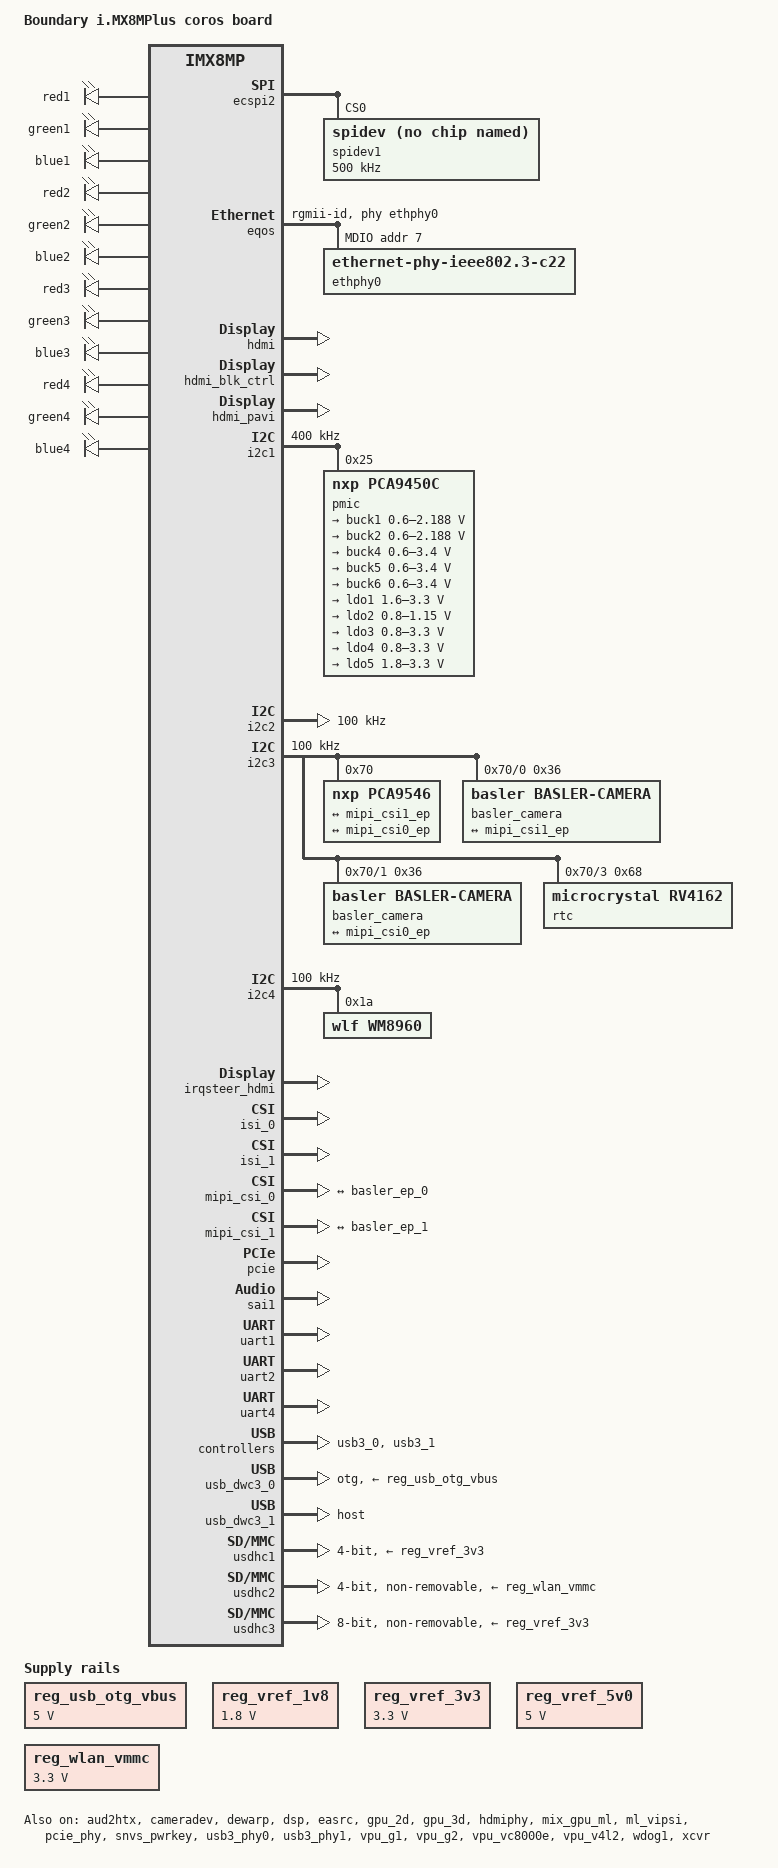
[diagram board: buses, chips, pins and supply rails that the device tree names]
// SPDX-License-Identifier: (GPL-2.0+ OR MIT)
/*
 * Copyright 2022 Boundary Devices
 */

/dts-v1/;

#include <dt-bindings/usb/pd.h>
#include "imx8mp.dtsi"

&iomuxc {
	pinctrl-names = "default";
	pinctrl-0 = <&pinctrl_hog>, <&pinctrl_hog1>;

	pinctrl_bt_rfkill: bt-rfkillgrp {
		fsl,pins = <
#define GP_BT_RFKILL_RESET	<&gpio3 6 GPIO_ACTIVE_LOW>
			MX8MP_IOMUXC_NAND_DATA00__GPIO3_IO06		0x100
		>;
	};

	pinctrl_ecspi2: ecspi2grp {
		fsl,pins = <
			/* J31 */
			MX8MP_IOMUXC_ECSPI2_SCLK__ECSPI2_SCLK		0x82
			MX8MP_IOMUXC_ECSPI2_MOSI__ECSPI2_MOSI		0x82
			MX8MP_IOMUXC_ECSPI2_MISO__ECSPI2_MISO		0x82
#define GP_ECSPI2_CS	<&gpio5 13 GPIO_ACTIVE_LOW>
			MX8MP_IOMUXC_ECSPI2_SS0__GPIO5_IO13		0x143
		>;
	};

	pinctrl_eqos: eqosgrp {
		fsl,pins = <
			MX8MP_IOMUXC_ENET_MDC__ENET_QOS_MDC		0x20
			MX8MP_IOMUXC_ENET_MDIO__ENET_QOS_MDIO		0xa0
			MX8MP_IOMUXC_ENET_TX_CTL__ENET_QOS_RGMII_TX_CTL	0x1f
			MX8MP_IOMUXC_ENET_TXC__CCM_ENET_QOS_CLOCK_GENERATE_TX_CLK	0x1f
			MX8MP_IOMUXC_ENET_TD0__ENET_QOS_RGMII_TD0	0x1f
			MX8MP_IOMUXC_ENET_TD1__ENET_QOS_RGMII_TD1	0x1f
			MX8MP_IOMUXC_ENET_TD2__ENET_QOS_RGMII_TD2	0x1f
			MX8MP_IOMUXC_ENET_TD3__ENET_QOS_RGMII_TD3	0x1f

			MX8MP_IOMUXC_ENET_RX_CTL__ENET_QOS_RGMII_RX_CTL	0x91
			MX8MP_IOMUXC_ENET_RXC__CCM_ENET_QOS_CLOCK_GENERATE_RX_CLK	0x91
			MX8MP_IOMUXC_ENET_RD0__ENET_QOS_RGMII_RD0	0x91
			MX8MP_IOMUXC_ENET_RD1__ENET_QOS_RGMII_RD1	0x91
			MX8MP_IOMUXC_ENET_RD2__ENET_QOS_RGMII_RD2	0x91
			MX8MP_IOMUXC_ENET_RD3__ENET_QOS_RGMII_RD3	0x91
#define GP_EQOS_RESET	<&gpio3 16 GPIO_ACTIVE_LOW>
			MX8MP_IOMUXC_NAND_READY_B__GPIO3_IO16		0x100
#define GPIRQ_EQOS_PHY	<&gpio3 2 IRQ_TYPE_LEVEL_LOW>
			MX8MP_IOMUXC_NAND_CE1_B__GPIO3_IO02		0x1c0
		>;
	};

	pinctrl_hog: hoggrp {
		fsl,pins = <
/* sierra em7411 */
#define GP_USB_M2_PWR_OFF	<&gpio4 27 GPIO_ACTIVE_HIGH>
			MX8MP_IOMUXC_SAI2_MCLK__GPIO4_IO27		0x140
#define GP_USB_M2_WD		<&gpio4 25 GPIO_ACTIVE_LOW>
			MX8MP_IOMUXC_SAI2_TXC__GPIO4_IO25		0x140
#define GP_USB_M2_SIM1_DET	<&gpio4 21 GPIO_ACTIVE_HIGH>
			MX8MP_IOMUXC_SAI2_RXFS__GPIO4_IO21		0x140
#define GP_USB_M2_WL_DISABLE	<&gpio4 22 GPIO_ACTIVE_HIGH>
			MX8MP_IOMUXC_SAI2_RXC__GPIO4_IO22		0x140
#define GP_USB_M2_HST_WAKE	<&gpio4 23 GPIO_ACTIVE_HIGH>
			MX8MP_IOMUXC_SAI2_RXD0__GPIO4_IO23		0x00
#define GP_USB_M2_VID0		<&gpio5 2 GPIO_ACTIVE_HIGH>
			MX8MP_IOMUXC_SAI3_MCLK__GPIO5_IO02		0x00
#define GP_USB_M2_SIM2_DET	<&gpio4 31 GPIO_ACTIVE_HIGH>
			MX8MP_IOMUXC_SAI3_TXFS__GPIO4_IO31		0x140
#define GP_USB_M2_RESET		<&gpio5 0 GPIO_ACTIVE_LOW>
			MX8MP_IOMUXC_SAI3_TXC__GPIO5_IO00		0x140
#define GP_USB_M2_CONFIG_0	<&gpio5 1 GPIO_ACTIVE_HIGH>
			MX8MP_IOMUXC_SAI3_TXD__GPIO5_IO01		0x00
#define GP_USB_M2_ANT_CTRL2	<&gpio4 28 GPIO_ACTIVE_HIGH>
			MX8MP_IOMUXC_SAI3_RXFS__GPIO4_IO28		0x00
#define GP_USB_M2_ANT_CTRL3	<&gpio4 29 GPIO_ACTIVE_HIGH>
			MX8MP_IOMUXC_SAI3_RXC__GPIO4_IO29		0x00
#define GP_USB_M2_ANT_CTRL1	<&gpio4 30 GPIO_ACTIVE_HIGH>
			MX8MP_IOMUXC_SAI3_RXD__GPIO4_IO30		0x00

			MX8MP_IOMUXC_GPIO1_IO04__GPIO1_IO04		0x00	/* J57 Pin 20 */
			MX8MP_IOMUXC_GPIO1_IO05__GPIO1_IO05		0x00	/* J57 Pin 22 */
			MX8MP_IOMUXC_GPIO1_IO06__GPIO1_IO06		0x00	/* J57 Pin 24 */
			MX8MP_IOMUXC_GPIO1_IO07__GPIO1_IO07		0x00	/* J57 Pin 26 */
			MX8MP_IOMUXC_GPIO1_IO08__GPIO1_IO08		0x00	/* J57 Pin 28 */
			MX8MP_IOMUXC_GPIO1_IO09__GPIO1_IO09		0x00	/* J57 Pin 30 */
			MX8MP_IOMUXC_GPIO1_IO10__GPIO1_IO10		0x00	/* J57 Pin 32 */
			MX8MP_IOMUXC_ECSPI1_MOSI__GPIO5_IO07		0x00	/* J57 Pin 37 */
			MX8MP_IOMUXC_ECSPI1_SS0__GPIO5_IO09		0x00	/* J57 Pin 39 */

			MX8MP_IOMUXC_GPIO1_IO15__GPIO1_IO15		0x00	/* TP114 */
			MX8MP_IOMUXC_SD1_DATA4__GPIO2_IO06		0x00	/* TP116 */
			MX8MP_IOMUXC_SD1_DATA6__GPIO2_IO08		0x00	/* TP117 */
			MX8MP_IOMUXC_SPDIF_TX__GPIO5_IO03		0x00	/* TP137 */
			MX8MP_IOMUXC_SPDIF_EXT_CLK__GPIO5_IO05		0x00	/* TP139 */
			MX8MP_IOMUXC_GPIO1_IO11__GPIO1_IO11		0x00	/* TP152 */

			MX8MP_IOMUXC_HDMI_DDC_SCL__HDMIMIX_HDMI_SCL	0x400001c3
			MX8MP_IOMUXC_HDMI_DDC_SDA__HDMIMIX_HDMI_SDA	0x400001c3
			MX8MP_IOMUXC_HDMI_HPD__HDMIMIX_HDMI_HPD		0x40000019
			MX8MP_IOMUXC_HDMI_CEC__HDMIMIX_HDMI_CEC		0x40000019
		>;
	};

	pinctrl_hog1: hog1grp {
		fsl,pins = <
/* Sierra EM7411(J53) and PCIe(J54) */
#define GP_3P5V_EN		<&gpio3 25 GPIO_ACTIVE_HIGH>
			MX8MP_IOMUXC_SAI5_MCLK__GPIO3_IO25		0x140
		>;
	};

	pinctrl_i2c1: i2c1grp {
		fsl,pins = <
			MX8MP_IOMUXC_I2C1_SCL__I2C1_SCL			0x400001c3
			MX8MP_IOMUXC_I2C1_SDA__I2C1_SDA			0x400001c3
		>;
	};

	pinctrl_i2c1_1: i2c1-1grp {
		fsl,pins = <
#define GP_I2C1_SCL	<&gpio5 14 GPIO_OPEN_DRAIN>
			MX8MP_IOMUXC_I2C1_SCL__GPIO5_IO14        	0x1c3
#define GP_I2C1_SDA	<&gpio5 15 GPIO_OPEN_DRAIN>
			MX8MP_IOMUXC_I2C1_SDA__GPIO5_IO15        	0x1c3
		>;
	};

	pinctrl_i2c1_pmic: i2c1-pmicgrp {
		fsl,pins = <
#define GPIRQ_PMIC	<&gpio3 0 IRQ_TYPE_LEVEL_LOW>
			MX8MP_IOMUXC_NAND_ALE__GPIO3_IO00		0x140
		>;
	};

	pinctrl_i2c2: i2c2grp {
		fsl,pins = <
			MX8MP_IOMUXC_I2C2_SCL__I2C2_SCL			0x400001c3
			MX8MP_IOMUXC_I2C2_SDA__I2C2_SDA			0x400001c3
		>;
	};

	pinctrl_i2c2_1: i2c2-1grp {
		fsl,pins = <
#define GP_I2C2_SCL	<&gpio5 16 GPIO_OPEN_DRAIN>
			MX8MP_IOMUXC_I2C2_SCL__GPIO5_IO16        	0x1c3
#define GP_I2C2_SDA	<&gpio5 17 GPIO_OPEN_DRAIN>
			MX8MP_IOMUXC_I2C2_SDA__GPIO5_IO17        	0x1c3
		>;
	};

	pinctrl_i2c3: i2c3grp {
		fsl,pins = <
			MX8MP_IOMUXC_I2C3_SCL__I2C3_SCL			0x400001c3
			MX8MP_IOMUXC_I2C3_SDA__I2C3_SDA			0x400001c3
		>;
	};

	pinctrl_i2c3_1: i2c3-1grp {
		fsl,pins = <
#define GP_I2C3_SCL	<&gpio5 18 GPIO_OPEN_DRAIN>
			MX8MP_IOMUXC_I2C3_SCL__GPIO5_IO18        	0x1c3
#define GP_I2C3_SDA	<&gpio5 19 GPIO_OPEN_DRAIN>
			MX8MP_IOMUXC_I2C3_SDA__GPIO5_IO19        	0x1c3
		>;
	};

	pinctrl_i2c3_pca9546: i2c3-pca9546grp {
		fsl,pins = <
#define GP_PCA9546_RESET	<&gpio3 20 GPIO_ACTIVE_LOW>
			MX8MP_IOMUXC_SAI5_RXC__GPIO3_IO20        	0x100
		>;
	};

	pinctrl_i2c3a_basler: i2c3a-baslergrp {
		fsl,pins = <
#define GP_I2C3A_J10_PIN17 <&gpio4 15 GPIO_OPEN_DRAIN>
			MX8MP_IOMUXC_SAI1_TXD3__GPIO4_IO15		0x1c0
		>;
	};

	pinctrl_i2c3b_basler: i2c3b-baslergrp {
		fsl,pins = <
#define GP_I2C3B_J9_PIN17 <&gpio4 13 GPIO_OPEN_DRAIN>
			MX8MP_IOMUXC_SAI1_TXD1__GPIO4_IO13		0x1c0
		>;
	};

	pinctrl_i2c3d_rv4162: i2c3d-rv4162grp {
		fsl,pins = <
#define GPIRQ_RV4162		<&gpio3 19 GPIO_ACTIVE_HIGH>
			MX8MP_IOMUXC_SAI5_RXFS__GPIO3_IO19		0x1c0
		>;
	};

	pinctrl_i2c4: i2c4grp {
		fsl,pins = <
			MX8MP_IOMUXC_I2C4_SCL__I2C4_SCL			0x400001c3
			MX8MP_IOMUXC_I2C4_SDA__I2C4_SDA			0x400001c3
		>;
	};

	pinctrl_i2c4_1: i2c4-1grp {
		fsl,pins = <
#define GP_I2C4_SCL	<&gpio5 20 GPIO_OPEN_DRAIN>
			MX8MP_IOMUXC_I2C4_SCL__GPIO5_IO20        	0x1c3
#define GP_I2C4_SDA	<&gpio5 21 GPIO_OPEN_DRAIN>
			MX8MP_IOMUXC_I2C4_SDA__GPIO5_IO21        	0x1c3
		>;
	};

	pinctrl_leds: ledsgrp {
		fsl,pins = <
#define GP_LED1_BLUE		<&gpio4 19 GPIO_ACTIVE_LOW>
			MX8MP_IOMUXC_SAI1_TXD7__GPIO4_IO19		0x140
#define GP_LED1_GREEN		<&gpio4 0 GPIO_ACTIVE_LOW>
			MX8MP_IOMUXC_SAI1_RXFS__GPIO4_IO00		0x140
#define GP_LED1_RED		<&gpio4 1 GPIO_ACTIVE_LOW>
			MX8MP_IOMUXC_SAI1_RXC__GPIO4_IO01		0x140

#define GP_LED2_BLUE		<&gpio4 16 GPIO_ACTIVE_LOW>
			MX8MP_IOMUXC_SAI1_TXD4__GPIO4_IO16		0x140
#define GP_LED2_GREEN		<&gpio4 17 GPIO_ACTIVE_LOW>
			MX8MP_IOMUXC_SAI1_TXD5__GPIO4_IO17		0x140
#define GP_LED2_RED		<&gpio4 18 GPIO_ACTIVE_LOW>
			MX8MP_IOMUXC_SAI1_TXD6__GPIO4_IO18		0x140

#define GP_LED3_BLUE		<&gpio4 3 GPIO_ACTIVE_LOW>
			MX8MP_IOMUXC_SAI1_RXD1__GPIO4_IO03		0x140
#define GP_LED3_GREEN		<&gpio4 4 GPIO_ACTIVE_LOW>
			MX8MP_IOMUXC_SAI1_RXD2__GPIO4_IO04		0x140
#define GP_LED3_RED		<&gpio4 5 GPIO_ACTIVE_LOW>
			MX8MP_IOMUXC_SAI1_RXD3__GPIO4_IO05		0x140

#define GP_LED4_BLUE		<&gpio4 7 GPIO_ACTIVE_LOW>
			MX8MP_IOMUXC_SAI1_RXD5__GPIO4_IO07		0x140
#define GP_LED4_GREEN		<&gpio4 8 GPIO_ACTIVE_LOW>
			MX8MP_IOMUXC_SAI1_RXD6__GPIO4_IO08		0x140
#define GP_LED4_RED		<&gpio4 9 GPIO_ACTIVE_LOW>
			MX8MP_IOMUXC_SAI1_RXD7__GPIO4_IO09		0x140
		>;
	};

	pinctrl_pcie: pciegrp {
		fsl,pins = <
#define GP_PCIE_RESET	<&gpio1 14 GPIO_ACTIVE_LOW>
			MX8MP_IOMUXC_GPIO1_IO14__GPIO1_IO14		0x100
#define GP_PCIE_CLK_REQ	<&gpio5 8 GPIO_ACTIVE_HIGH>
			MX8MP_IOMUXC_ECSPI1_MISO__GPIO5_IO08		0x140
		>;
	};

	pinctrl_reg_usbotg_vbus: reg-usbotg-vbusgrp {
		fsl,pins = <
#define GP_REG_USB_OTG_VBUS	<&gpio1 12 GPIO_ACTIVE_HIGH>
			MX8MP_IOMUXC_GPIO1_IO12__GPIO1_IO12		0x100
		>;
	};

	pinctrl_reg_wlan_vmmc: reg-wlan-vmmcgrp {
		fsl,pins = <
#define GP_REG_WLAN_VMMC	<&gpio2 19 GPIO_ACTIVE_HIGH>
			MX8MP_IOMUXC_SD2_RESET_B__GPIO2_IO19		0x100
		>;
	};

	pinctrl_sai1: sai1grp {
		fsl,pins = <
			/* WM8960 */
			MX8MP_IOMUXC_SAI1_TXFS__AUDIOMIX_SAI1_TX_SYNC	0xd6
			MX8MP_IOMUXC_SAI1_TXC__AUDIOMIX_SAI1_TX_BCLK	0xd6
			MX8MP_IOMUXC_SAI1_RXD0__AUDIOMIX_SAI1_RX_DATA00	0xd6
			MX8MP_IOMUXC_SAI1_TXD0__AUDIOMIX_SAI1_TX_DATA00	0xd6
			MX8MP_IOMUXC_SAI1_MCLK__AUDIOMIX_SAI1_MCLK	0xd6
		>;
	};

	pinctrl_sound_wm8960: sound-wm8960grp {
		fsl,pins = <
#define GP_WM8960_AMP_STDBY	<&gpio3 23 GPIO_ACTIVE_LOW>	/* Low is standby */
			MX8MP_IOMUXC_SAI5_RXD2__GPIO3_IO23		0x100
#define GP_WM8960_AMP_MUTE	<&gpio3 24 GPIO_ACTIVE_LOW>	/* Low is muted */
			MX8MP_IOMUXC_SAI5_RXD3__GPIO3_IO24		0x100
#define GP_WM8960_AMP_G0	<&gpio3 22 GPIO_ACTIVE_HIGH>
			MX8MP_IOMUXC_SAI5_RXD1__GPIO3_IO22		0x100
#define GP_WM8960_AMP_G1	<&gpio3 21 GPIO_ACTIVE_HIGH>
			MX8MP_IOMUXC_SAI5_RXD0__GPIO3_IO21		0x100
		>;
	};

	pinctrl_uart1: uart1grp {
		fsl,pins = <
			MX8MP_IOMUXC_UART1_RXD__UART1_DCE_RX		0x140
			MX8MP_IOMUXC_UART1_TXD__UART1_DCE_TX		0x140
			MX8MP_IOMUXC_UART3_RXD__UART1_DCE_CTS		0x140
			MX8MP_IOMUXC_UART3_TXD__UART1_DCE_RTS		0x140
#define GP_BT_UART_WH	<&gpio3 14 GPIO_ACTIVE_HIGH>		/* Wake Host */
			MX8MP_IOMUXC_NAND_DQS__GPIO3_IO14		0x140
		>;
	};

	pinctrl_uart2: uart2grp {
		fsl,pins = <
			MX8MP_IOMUXC_UART2_RXD__UART2_DCE_RX		0x140
			MX8MP_IOMUXC_UART2_TXD__UART2_DCE_TX		0x140
/* FT232RL usb to rs232 for console */
#define GP_USB_UART_SUSPEND	<&gpio4 14 GPIO_ACTIVE_HIGH>
			MX8MP_IOMUXC_SAI1_TXD2__GPIO4_IO14		0x140
#define GP_USB_UART_RESET	<&gpio4 6 GPIO_ACTIVE_HIGH>
			MX8MP_IOMUXC_SAI1_RXD4__GPIO4_IO06		0x140
		>;
	};

	pinctrl_uart4: uart4grp {
		fsl,pins = <
			MX8MP_IOMUXC_UART4_RXD__UART4_DCE_RX		0x140
			MX8MP_IOMUXC_UART4_TXD__UART4_DCE_TX		0x140
		>;
	};

	pinctrl_usb3_0: usb3-0grp {
		fsl,pins = <
			MX8MP_IOMUXC_GPIO1_IO13__USB1_OC	0x140
		>;
	};

	pinctrl_usb3_1: usb3-1grp {
		fsl,pins = <
#define GP_USB3_1_HUB_RESET	<&gpio5 6 GPIO_ACTIVE_LOW>
			MX8MP_IOMUXC_ECSPI1_SCLK__GPIO5_IO06		0x100
		>;
	};

	/* SD card */
	pinctrl_usdhc1: usdhc1grp {
		fsl,pins = <
			MX8MP_IOMUXC_SD1_CLK__USDHC1_CLK	0x190
			MX8MP_IOMUXC_SD1_CMD__USDHC1_CMD	0x1d0
			MX8MP_IOMUXC_SD1_DATA0__USDHC1_DATA0	0x1d0
			MX8MP_IOMUXC_SD1_DATA1__USDHC1_DATA1	0x1d0
			MX8MP_IOMUXC_SD1_DATA2__USDHC1_DATA2	0x1d0
			MX8MP_IOMUXC_SD1_DATA3__USDHC1_DATA3	0x1d0
			MX8MP_IOMUXC_GPIO1_IO03__USDHC1_VSELECT	0x116
		>;
	};

	pinctrl_usdhc1_100mhz: usdhc1grp-100mhz {
		fsl,pins = <
			MX8MP_IOMUXC_SD1_CLK__USDHC1_CLK	0x194
			MX8MP_IOMUXC_SD1_CMD__USDHC1_CMD	0x1d4
			MX8MP_IOMUXC_SD1_DATA0__USDHC1_DATA0	0x1d4
			MX8MP_IOMUXC_SD1_DATA1__USDHC1_DATA1	0x1d4
			MX8MP_IOMUXC_SD1_DATA2__USDHC1_DATA2	0x1d4
			MX8MP_IOMUXC_SD1_DATA3__USDHC1_DATA3	0x1d4
		>;
	};

	pinctrl_usdhc1_200mhz: usdhc1grp-200mhz {
		fsl,pins = <
			MX8MP_IOMUXC_SD1_CLK__USDHC1_CLK	0x196
			MX8MP_IOMUXC_SD1_CMD__USDHC1_CMD	0x1d6
			MX8MP_IOMUXC_SD1_DATA0__USDHC1_DATA0	0x1d6
			MX8MP_IOMUXC_SD1_DATA1__USDHC1_DATA1	0x1d6
			MX8MP_IOMUXC_SD1_DATA2__USDHC1_DATA2	0x1d6
			MX8MP_IOMUXC_SD1_DATA3__USDHC1_DATA3	0x1d6
		>;
	};

	pinctrl_usdhc1_gpio: usdhc1grp-gpio {
		fsl,pins = <
#define GP_USDHC1_CD	<&gpio2 11 GPIO_ACTIVE_LOW>
			MX8MP_IOMUXC_SD1_STROBE__GPIO2_IO11	0x1c4
		>;
	};

	/* Silex wifi QCA9377 */
	pinctrl_usdhc2: usdhc2grp {
		fsl,pins = <
			MX8MP_IOMUXC_SD2_CLK__USDHC2_CLK	0x190
			MX8MP_IOMUXC_SD2_CMD__USDHC2_CMD	0x1d0
			MX8MP_IOMUXC_SD2_DATA0__USDHC2_DATA0	0x1d0
			MX8MP_IOMUXC_SD2_DATA1__USDHC2_DATA1	0x1d0
			MX8MP_IOMUXC_SD2_DATA2__USDHC2_DATA2	0x1d0
			MX8MP_IOMUXC_SD2_DATA3__USDHC2_DATA3	0x1d0
#define GPIRQ_QCA9377	<&gpio2 12 IRQ_TYPE_LEVEL_LOW>
			MX8MP_IOMUXC_SD2_CD_B__GPIO2_IO12	0x1c0
			MX8MP_IOMUXC_GPIO1_IO00__ANAMIX_REF_CLK_32K	0x03
		>;
	};

	pinctrl_usdhc2_100mhz: usdhc2grp100mhz {
		fsl,pins = <
			MX8MP_IOMUXC_SD2_CLK__USDHC2_CLK	0x194
			MX8MP_IOMUXC_SD2_CMD__USDHC2_CMD	0x1d4
			MX8MP_IOMUXC_SD2_DATA0__USDHC2_DATA0	0x1d4
			MX8MP_IOMUXC_SD2_DATA1__USDHC2_DATA1	0x1d4
			MX8MP_IOMUXC_SD2_DATA2__USDHC2_DATA2	0x1d4
			MX8MP_IOMUXC_SD2_DATA3__USDHC2_DATA3	0x1d4
		>;
	};

	pinctrl_usdhc2_200mhz: usdhc2grp200mhz {
		fsl,pins = <
			MX8MP_IOMUXC_SD2_CLK__USDHC2_CLK	0x196
			MX8MP_IOMUXC_SD2_CMD__USDHC2_CMD	0x1d6
			MX8MP_IOMUXC_SD2_DATA0__USDHC2_DATA0	0x1d6
			MX8MP_IOMUXC_SD2_DATA1__USDHC2_DATA1	0x1d6
			MX8MP_IOMUXC_SD2_DATA2__USDHC2_DATA2	0x1d6
			MX8MP_IOMUXC_SD2_DATA3__USDHC2_DATA3	0x1d6
		>;
	};

	/* emmc */
	pinctrl_usdhc3: usdhc3grp {
		fsl,pins = <
			MX8MP_IOMUXC_NAND_WE_B__USDHC3_CLK	0x190
			MX8MP_IOMUXC_NAND_WP_B__USDHC3_CMD	0x1d0
			MX8MP_IOMUXC_NAND_DATA04__USDHC3_DATA0	0x1d0
			MX8MP_IOMUXC_NAND_DATA05__USDHC3_DATA1	0x1d0
			MX8MP_IOMUXC_NAND_DATA06__USDHC3_DATA2	0x1d0
			MX8MP_IOMUXC_NAND_DATA07__USDHC3_DATA3	0x1d0
			MX8MP_IOMUXC_NAND_RE_B__USDHC3_DATA4	0x1d0
			MX8MP_IOMUXC_NAND_CE2_B__USDHC3_DATA5	0x1d0
			MX8MP_IOMUXC_NAND_CE3_B__USDHC3_DATA6	0x1d0
			MX8MP_IOMUXC_NAND_CLE__USDHC3_DATA7	0x1d0
#define GP_EMMC_RESET	<&gpio3 1 GPIO_ACTIVE_LOW>
			MX8MP_IOMUXC_NAND_CE0_B__GPIO3_IO01	0x140
		>;
	};

	pinctrl_usdhc3_100mhz: usdhc3grp-100mhz {
		fsl,pins = <
			MX8MP_IOMUXC_NAND_WE_B__USDHC3_CLK	0x194
			MX8MP_IOMUXC_NAND_WP_B__USDHC3_CMD	0x1d4
			MX8MP_IOMUXC_NAND_DATA04__USDHC3_DATA0	0x1d4
			MX8MP_IOMUXC_NAND_DATA05__USDHC3_DATA1	0x1d4
			MX8MP_IOMUXC_NAND_DATA06__USDHC3_DATA2	0x1d4
			MX8MP_IOMUXC_NAND_DATA07__USDHC3_DATA3	0x1d4
			MX8MP_IOMUXC_NAND_RE_B__USDHC3_DATA4	0x1d4
			MX8MP_IOMUXC_NAND_CE2_B__USDHC3_DATA5	0x1d4
			MX8MP_IOMUXC_NAND_CE3_B__USDHC3_DATA6	0x1d4
			MX8MP_IOMUXC_NAND_CLE__USDHC3_DATA7	0x1d4
		>;
	};

	pinctrl_usdhc3_200mhz: usdhc3grp-200mhz {
		fsl,pins = <
			MX8MP_IOMUXC_NAND_WE_B__USDHC3_CLK	0x196
			MX8MP_IOMUXC_NAND_WP_B__USDHC3_CMD	0x1d6
			MX8MP_IOMUXC_NAND_DATA04__USDHC3_DATA0	0x1d6
			MX8MP_IOMUXC_NAND_DATA05__USDHC3_DATA1	0x1d6
			MX8MP_IOMUXC_NAND_DATA06__USDHC3_DATA2	0x1d6
			MX8MP_IOMUXC_NAND_DATA07__USDHC3_DATA3	0x1d6
			MX8MP_IOMUXC_NAND_RE_B__USDHC3_DATA4	0x1d6
			MX8MP_IOMUXC_NAND_CE2_B__USDHC3_DATA5	0x1d6
			MX8MP_IOMUXC_NAND_CE3_B__USDHC3_DATA6	0x1d6
			MX8MP_IOMUXC_NAND_CLE__USDHC3_DATA7	0x1d6
		>;
	};

	pinctrl_wdog: wdoggrp {
		fsl,pins = <
			MX8MP_IOMUXC_GPIO1_IO02__WDOG1_WDOG_B	0x146
		>;
	};
};

/ {
	model = "Boundary i.MX8MPlus coros board";
	compatible = "boundary,imx8mp-coros", "fsl,imx8mp";

	aliases {
		fb_hdmi = &lcdif3;
	};

	bt-rfkill {
		compatible = "net,rfkill-gpio";
		pinctrl-names = "default";
		pinctrl-0 = <&pinctrl_bt_rfkill>;
		name = "bt-rfkill";
		type = <2>; /* Bluetooth */
		reset-gpios = GP_BT_RFKILL_RESET;
		status = "okay";
	};

	chosen {
		stdout-path = &uart2;
	};

	leds {
		compatible = "gpio-leds";
		pinctrl-names = "default";
		pinctrl-0 = <&pinctrl_leds>;

		red1 {
			gpios = GP_LED1_RED;
			retain-state-suspended;
			default-state = "off";
		};

		green1 {
			gpios = GP_LED1_GREEN;
			retain-state-suspended;
			default-state = "off";
		};

		blue1 {
			gpios = GP_LED1_BLUE;
			retain-state-suspended;
			default-state = "off";
		};

		red2 {
			gpios = GP_LED2_RED;
			retain-state-suspended;
			default-state = "off";
		};

		green2 {
			gpios = GP_LED2_GREEN;
			retain-state-suspended;
			default-state = "off";
		};

		blue2 {
			gpios = GP_LED2_BLUE;
			retain-state-suspended;
			default-state = "off";
		};

		red3 {
			gpios = GP_LED3_RED;
			retain-state-suspended;
			default-state = "off";
		};

		green3 {
			gpios = GP_LED3_GREEN;
			retain-state-suspended;
			default-state = "off";
		};

		blue3 {
			gpios = GP_LED3_BLUE;
			retain-state-suspended;
			default-state = "off";
		};

		red4 {
			gpios = GP_LED4_RED;
			retain-state-suspended;
			default-state = "off";
		};

		green4 {
			gpios = GP_LED4_GREEN;
			retain-state-suspended;
			default-state = "off";
		};

		blue4 {
			gpios = GP_LED4_BLUE;
			retain-state-suspended;
			default-state = "off";
		};
	};

	reg_usb_otg_vbus: regulator-usb-otg-vbus {
		compatible = "regulator-fixed";
		pinctrl-names = "default";
		pinctrl-0 = <&pinctrl_reg_usbotg_vbus>;
		regulator-name = "usb_otg_vbus";
		regulator-min-microvolt = <5000000>;
		regulator-max-microvolt = <5000000>;
		gpio = GP_REG_USB_OTG_VBUS;
		enable-active-high;
	};

	reg_vref_1v8: regulator-vref-1v8 {
		compatible = "regulator-fixed";
		regulator-name = "vref-1v8";
		regulator-min-microvolt = <1800000>;
		regulator-max-microvolt = <1800000>;
	};

	reg_vref_3v3: regulator-vref-3v3 {
		compatible = "regulator-fixed";
		regulator-name = "vref-3v3";
		regulator-min-microvolt = <3300000>;
		regulator-max-microvolt = <3300000>;
	};

	reg_vref_5v0: regulator-vref-5v0 {
		compatible = "regulator-fixed";
		regulator-name = "vref-5v0";
		regulator-min-microvolt = <5000000>;
		regulator-max-microvolt = <5000000>;
	};

	reg_wlan_vmmc: regulator-wlan-vmmc {
		compatible = "regulator-fixed";
		pinctrl-names = "default";
		pinctrl-0 = <&pinctrl_reg_wlan_vmmc>;
		regulator-name = "reg_wlan_vmmc";
		regulator-min-microvolt = <3300000>;
		regulator-max-microvolt = <3300000>;
		gpio = GP_REG_WLAN_VMMC;
		startup-delay-us = <70000>;
		enable-active-high;
	};

	reserved-memory {
		#address-cells = <2>;
		#size-cells = <2>;
		ranges;

		linux,cma {
			size = <0 0x20000000>;
		};
	};

	sound-hdmi {
		compatible = "fsl,imx-audio-hdmi";
		model = "audio-hdmi";
		audio-cpu = <&aud2htx>;
		hdmi-out;
		constraint-rate = <44100>,
				<88200>,
				<176400>,
				<32000>,
				<48000>,
				<96000>,
				<192000>;
		status = "okay";
	};

	sound-wm8960 {
		amp-gain-gpios = GP_WM8960_AMP_G0, GP_WM8960_AMP_G1;
		/* amp-gain-seq = /bits/ 8 <0 1 2 3>; */ /* default */
		amp-mute-gpios = GP_WM8960_AMP_MUTE;
		/* delay between mute and standby enter */
		amp-standby-enter-wait-ms = <50>;
		/* delay between standby exit and unmute */
		amp-standby-exit-delay-ms = <100>;
		amp-standby-gpios = GP_WM8960_AMP_STDBY;
		audio-codec = <&wm8960>;
		audio-cpu = <&sai1>;
		audio-routing =
			"Ext Spk", "HP_L",
			"Ext Spk", "HP_R",
			"LINPUT1", "Main MIC",
			"Main MIC", "MICB";
		codec-master;
		compatible = "fsl,imx-audio-wm8960";
		model = "wm8960-audio";
		pinctrl-names = "default";
		pinctrl-0 = <&pinctrl_sound_wm8960>;
	};
};

&A53_0 {
	cpu-supply = <&buck2>;
};

&A53_1 {
	cpu-supply = <&buck2>;
};

&A53_2 {
	cpu-supply = <&buck2>;
};

&A53_3 {
	cpu-supply = <&buck2>;
};

&aud2htx {
	status = "okay";
};

&cameradev {
	status = "okay";
};

&clk {
	init-on-array = <IMX8MP_CLK_HSIO_ROOT>;
};

&dewarp {
	status = "okay";
};

&dsp {
	status = "okay";
};

&easrc {
	fsl,asrc-rate  = <48000>;
	status = "okay";
};

&ecspi2 {
	#address-cells = <1>;
	#size-cells = <0>;
	pinctrl-names = "default";
	pinctrl-0 = <&pinctrl_ecspi2>;
	cs-gpios = GP_ECSPI2_CS;
	status = "okay";

	spidev1: spi@0 {
		compatible = "spidev";
		reg = <0>;
		spi-max-frequency = <500000>;
	};
};

&eqos {
	pinctrl-names = "default";
	pinctrl-0 = <&pinctrl_eqos>;
	phy-mode = "rgmii-id";
	phy-handle = <&ethphy0>;
	phy-reset-post-delay = <150>;
	phy-reset-duration = <10>;
	status = "okay";

	mdio {
		compatible = "snps,dwmac-mdio";
		#address-cells = <1>;
		#size-cells = <0>;

		ethphy0: ethernet-phy@7 {
			compatible = "ethernet-phy-ieee802.3-c22";
			interrupts-extended = GPIRQ_EQOS_PHY;
			reg = <7>;
#if 0
			reset-gpios = GP_EQOS_RESET;
#endif
			rxc-skew-ps = <3000>;
			rxd0-skew-ps = <0>;
			rxd1-skew-ps = <0>;
			rxd2-skew-ps = <0>;
			rxd3-skew-ps = <0>;
			rxdv-skew-ps = <0>;
			txc-skew-ps = <3000>;
			txd0-skew-ps = <0>;
			txd1-skew-ps = <0>;
			txd2-skew-ps = <0>;
			txd3-skew-ps = <0>;
			txen-skew-ps = <0>;
		};
	};
};

&gpu_2d {
	status = "okay";
};

&gpu_3d {
	status = "okay";
};

&hdmi {
	status = "okay";
};

&hdmiphy {
	status = "okay";
};

&hdmi_blk_ctrl {
	status = "okay";
};

&hdmi_pavi {
	status = "okay";
};

&i2c1 {
	clock-frequency = <400000>;
	pinctrl-names = "default", "gpio";
	pinctrl-0 = <&pinctrl_i2c1>;
	pinctrl-1 = <&pinctrl_i2c1_1>;
	scl-gpios = GP_I2C1_SCL;
	sda-gpios = GP_I2C1_SDA;
	status = "okay";

	pmic: pca9450@25 {
		reg = <0x25>;
		compatible = "nxp,pca9450c";
		/* PMIC PCA9450 PMIC_nINT GPIO1_IO3 */
		pinctrl-0 = <&pinctrl_i2c1_pmic>;
		interrupts-extended = GPIRQ_PMIC;

		regulators {
			buck1: BUCK1 {
				regulator-name = "BUCK1";
				regulator-min-microvolt = <600000>;
				regulator-max-microvolt = <2187500>;
				regulator-boot-on;
				regulator-always-on;
				regulator-ramp-delay = <3125>;
			};

			buck2: BUCK2 {
				regulator-name = "BUCK2";
				regulator-min-microvolt = <600000>;
				regulator-max-microvolt = <2187500>;
				regulator-limit-microvolt = <1025000>;
				regulator-boot-on;
				regulator-always-on;
				regulator-ramp-delay = <3125>;
				nxp,dvs-run-voltage = <950000>;
				nxp,dvs-standby-voltage = <850000>;
			};

			buck4: BUCK4 {
				regulator-name = "BUCK4";
				regulator-min-microvolt = <600000>;
				regulator-max-microvolt = <3400000>;
				regulator-boot-on;
				regulator-always-on;
			};

			buck5: BUCK5 {
				regulator-name = "BUCK5";
				regulator-min-microvolt = <600000>;
				regulator-max-microvolt = <3400000>;
				regulator-boot-on;
				regulator-always-on;
			};

			buck6: BUCK6 {
				regulator-name = "BUCK6";
				regulator-min-microvolt = <600000>;
				regulator-max-microvolt = <3400000>;
				regulator-boot-on;
				regulator-always-on;
			};

			ldo1: LDO1 {
				regulator-name = "LDO1";
				regulator-min-microvolt = <1600000>;
				regulator-max-microvolt = <3300000>;
				regulator-boot-on;
				regulator-always-on;
			};

			ldo2: LDO2 {
				regulator-name = "LDO2";
				regulator-min-microvolt = <800000>;
				regulator-max-microvolt = <1150000>;
				regulator-boot-on;
				regulator-always-on;
			};

			ldo3: LDO3 {
				regulator-name = "LDO3";
				regulator-min-microvolt = <800000>;
				regulator-max-microvolt = <3300000>;
				regulator-boot-on;
				regulator-always-on;
			};

			ldo4: LDO4 {
				regulator-name = "LDO4";
				regulator-min-microvolt = <800000>;
				regulator-max-microvolt = <3300000>;
				regulator-boot-on;
				regulator-always-on;
			};

			ldo5: LDO5 {
				regulator-name = "LDO5";
				regulator-min-microvolt = <1800000>;
				regulator-max-microvolt = <3300000>;
				regulator-boot-on;
				regulator-always-on;
			};
		};
	};
};

&i2c2 {
	clock-frequency = <100000>;
	pinctrl-names = "default", "gpio";
	pinctrl-0 = <&pinctrl_i2c2>;
	pinctrl-1 = <&pinctrl_i2c2_1>;
	scl-gpios = GP_I2C2_SCL;
	sda-gpios = GP_I2C2_SDA;
	status = "okay";

	/* J57 */
};

&i2c3 {
	clock-frequency = <100000>;
	pinctrl-names = "default", "gpio";
	pinctrl-0 = <&pinctrl_i2c3>;
	pinctrl-1 = <&pinctrl_i2c3_1>;
	scl-gpios = GP_I2C3_SCL;
	sda-gpios = GP_I2C3_SDA;
	status = "okay";

	pca9546: i2cmux9546@70 {
		pinctrl-names = "default";
		pinctrl-0 = <&pinctrl_i2c3_pca9546>;
		compatible = "nxp,pca9546";
		reg = <0x70>;
		reset-gpios = GP_PCA9546_RESET;
		#address-cells = <1>;
		#size-cells = <0>;

		i2c3a: i2c3@0 {
			/* J10  - camera - csi2 */
			clock-frequency = <100000>;
			reg = <0>;
			#address-cells = <1>;
			#size-cells = <0>;
		};

		i2c3b: i2c3@1 {
			/* J9  - camera - csi1 */
			clock-frequency = <100000>;
			reg = <1>;
			#address-cells = <1>;
			#size-cells = <0>;
			/* edid  @50 */
		};

		i2c3c: i2c3@2 {
			/* TP118/TP119 */
			clock-frequency = <100000>;
			reg = <2>;
			#address-cells = <1>;
			#size-cells = <0>;
		};

		i2c3d: i2c3@3 {
			/* rtc */
			clock-frequency = <100000>;
			reg = <3>;
			#address-cells = <1>;
			#size-cells = <0>;
		};
	};
};


&i2c3a {
	basler_camera@36 {
		compatible = "basler,basler-camera", "basler-camera";
		reg = <0x36>;
		csi_id = <0x01>;
		status = "okay";

		port {
			basler_ep_1: endpoint {
				clock-lanes = <0>;
				data-lanes = <1 2 3 4>;
				link-frequencies = /bits/ 64 <594000000>;
				max-lane-frequency = /bits/ 64 <750000000>;
				max-pixel-frequency = /bits/ 64 <266000000>;
				max-data-rate = /bits/ 64 <0>;
				remote-endpoint = <&mipi_csi1_ep>;
			};
		};
	};
};

&i2c3b {
	basler_camera@36 {
		compatible = "basler,basler-camera", "basler-camera";
		reg = <0x36>;
		csi_id = <0x00>;
		status = "okay";

		port {
			basler_ep_0: endpoint {
				clock-lanes = <0>;
				data-lanes = <1 2 3 4>;
				link-frequencies = /bits/ 64 <594000000>;
				max-lane-frequency = /bits/ 64 <750000000>;
				max-pixel-frequency = /bits/ 64 <266000000>;
				max-data-rate = /bits/ 64 <0>;
				remote-endpoint = <&mipi_csi0_ep>;
			};
		};
	};
};

&i2c3d {
	rtc@68 {
		compatible = "microcrystal,rv4162";
		pinctrl-names = "default";
		pinctrl-0 = <&pinctrl_i2c3d_rv4162>;
		reg = <0x68>;
		interrupts-extended = GPIRQ_RV4162;
		wakeup-source;
	};
};

&i2c4 {
	clock-frequency = <100000>;
	pinctrl-names = "default", "gpio";
	pinctrl-0 = <&pinctrl_i2c4>;
	pinctrl-1 = <&pinctrl_i2c4_1>;
	scl-gpios = GP_I2C4_SCL;
	sda-gpios = GP_I2C4_SDA;
	status = "okay";

	wm8960: codec@1a {
		clock-names = "mclk";
		clocks = <&audio_blk_ctrl IMX8MP_CLK_AUDIO_BLK_CTRL_SAI1_MCLK1>;
		compatible = "wlf,wm8960";
		reg = <0x1a>;
		wlf,gpio-cfg = <1 3>;
		wlf,shared-lrclk;
	};
};

&irqsteer_hdmi {
	status = "okay";
};

&isi_0 {
	status = "okay";

	cap_device {
		status = "okay";
	};

	m2m_device {
		status = "okay";
	};
};

&isi_1 {
	status = "okay";

	cap_device {
		status = "okay";
	};
};

&isp_0 {
	status = "disabled";
};

&isp_1 {
	status = "disabled";
};

&lcdif1 {
	status = "disabled";
};

&lcdif2 {
	status = "disabled";
};

&lcdif3 {
	status = "disabled";
};


&mipi_csi_0 {
	#address-cells = <1>;
	#size-cells = <0>;
	status = "okay";

	port@0 {
		reg = <0>;

		mipi_csi0_ep: endpoint {
			csis-clk-settle = <2>;
			csis-hs-settle = <16>;
			csis-wclk;
			data-lanes = <4>;
			remote-endpoint = <&basler_ep_0>;
		};
	};
};

&mipi_csi_1 {
	#address-cells = <1>;
	#size-cells = <0>;
	status = "okay";

	port@1 {
		reg = <1>;

		mipi_csi1_ep: endpoint {
			csis-clk-settle = <2>;
			csis-hs-settle = <16>;
			csis-wclk;
			data-lanes = <4>;
			remote-endpoint = <&basler_ep_1>;
		};
	};
};

&mix_gpu_ml {
	status = "okay";
};

&ml_vipsi {
	status = "okay";
};

&pcie {
	assigned-clocks = <&clk IMX8MP_CLK_HSIO_AXI>,
			  <&clk IMX8MP_CLK_PCIE_AUX>;
	assigned-clock-parents = <&clk IMX8MP_SYS_PLL2_500M>,
				 <&clk IMX8MP_SYS_PLL2_50M>;
	assigned-clock-rates = <500000000>, <10000000>;
	clocks = <&clk IMX8MP_CLK_HSIO_ROOT>,
		 <&clk IMX8MP_CLK_PCIE_AUX>,
		 <&clk IMX8MP_CLK_HSIO_AXI>,
		 <&clk IMX8MP_CLK_PCIE_ROOT>;
	clock-names = "pcie", "pcie_aux", "pcie_phy", "pcie_bus";
	ext_osc = <0>;
	pinctrl-names = "default";
	pinctrl-0 = <&pinctrl_pcie>;
	reset-gpio = GP_PCIE_RESET;
	status = "okay";
};

&pcie_phy {
	clk_mode = <3>;
	status = "okay";
};


&sai1 {
	pinctrl-names = "default";
	pinctrl-0 = <&pinctrl_sai1>;
	assigned-clocks = <&clk IMX8MP_CLK_SAI1>;
	assigned-clock-parents = <&clk IMX8MP_AUDIO_PLL1_OUT>;
	assigned-clock-rates = <12288000>;
	clocks = <&audio_blk_ctrl IMX8MP_CLK_AUDIO_BLK_CTRL_SAI1_IPG>, <&clk IMX8MP_CLK_DUMMY>,
		 <&audio_blk_ctrl IMX8MP_CLK_AUDIO_BLK_CTRL_SAI1_MCLK1>, <&clk IMX8MP_CLK_DUMMY>,
		 <&clk IMX8MP_CLK_DUMMY>;
	clock-names = "bus", "mclk0", "mclk1", "mclk2", "mclk3";
	fsl,sai-mclk-direction-output;
	status = "okay";
};

&sdma2 {
	status = "okay";
};

&snvs_pwrkey {
	status = "okay";
};

&uart1 { /* BT */
	pinctrl-names = "default";
	pinctrl-0 = <&pinctrl_uart1>;
	assigned-clocks = <&clk IMX8MP_CLK_UART1>;
	assigned-clock-parents = <&clk IMX8MP_SYS_PLL1_80M>;
	uart-has-rtscts;
	status = "okay";
};

&uart2 {
	/* console */
	pinctrl-names = "default";
	pinctrl-0 = <&pinctrl_uart2>;
	status = "okay";
};

&uart4 {
	pinctrl-names = "default";
	pinctrl-0 = <&pinctrl_uart4>;
	assigned-clocks = <&clk IMX8MP_CLK_UART4>;
	assigned-clock-parents = <&clk IMX8MP_SYS_PLL1_80M>;
	status = "okay";
};

&usb3_0 {
	status = "okay";
};

&usb3_1 {
	status = "okay";
};

&usb_dwc3_0 {
	dr_mode = "otg";
	pinctrl-names = "default";
	pinctrl-0 = <&pinctrl_usb3_0>;
	status = "okay";
	vbus-supply = <&reg_usb_otg_vbus>;
};

&usb_dwc3_1 {
	dr_mode = "host";
	pinctrl-names = "default";
	pinctrl-0 = <&pinctrl_usb3_1>;
	reset-gpios = GP_USB3_1_HUB_RESET;
	status = "okay";
};

&usb3_phy0 {
	fsl,phy-tx-preemp-amp-tune = <2>;
	status = "okay";
	vbus-supply = <&reg_vref_5v0>;
};

&usb3_phy1 {
	fsl,phy-tx-preemp-amp-tune = <2>;
	status = "okay";
	vbus-supply = <&reg_vref_5v0>;
};

&usdhc1 {
	bus-width = <4>;
	cd-gpios = GP_USDHC1_CD;
	pinctrl-names = "default", "state_100mhz", "state_200mhz";
	pinctrl-0 = <&pinctrl_usdhc1>, <&pinctrl_usdhc1_gpio>;
	pinctrl-1 = <&pinctrl_usdhc1_100mhz>, <&pinctrl_usdhc1_gpio>;
	pinctrl-2 = <&pinctrl_usdhc1_200mhz>, <&pinctrl_usdhc1_gpio>;
	status = "okay";
	vmmc-supply = <&reg_vref_3v3>;
};

&usdhc2 {
	bus-width = <4>;
	no-sd-uhs-sdr104;
	pm-ignore-notify;
	keep-power-in-suspend;
	non-removable;
	pinctrl-names = "default", "state_100mhz", "state_200mhz";
	pinctrl-0 = <&pinctrl_usdhc2>;
	pinctrl-1 = <&pinctrl_usdhc2_100mhz>;
	pinctrl-2 = <&pinctrl_usdhc2_200mhz>;
	status = "okay";
	vmmc-supply = <&reg_wlan_vmmc>;
	vqmmc-1-8-v;
	vqmmc-supply = <&reg_vref_1v8>;
};

&usdhc3 {
	bus-width = <8>;
	no-mmc-hs400;
	non-removable;
	pinctrl-names = "default", "state_100mhz", "state_200mhz";
	pinctrl-0 = <&pinctrl_usdhc3>;
	pinctrl-1 = <&pinctrl_usdhc3_100mhz>;
	pinctrl-2 = <&pinctrl_usdhc3_200mhz>;
	status = "okay";
	vmmc-supply = <&reg_vref_3v3>;
	vqmmc-1-8-v;
	vqmmc-supply = <&reg_vref_1v8>;
};

&vpu_g1 {
	status = "okay";
};

&vpu_g2 {
	status = "okay";
};

&vpu_vc8000e {
	status = "okay";
};

&vpu_v4l2 {
	status = "okay";
};

&wdog1 {
	pinctrl-names = "default";
	pinctrl-0 = <&pinctrl_wdog>;
	fsl,ext-reset-output;
	status = "okay";
};

&xcvr {
	#sound-dai-cells = <0>;
	status = "okay";
};
